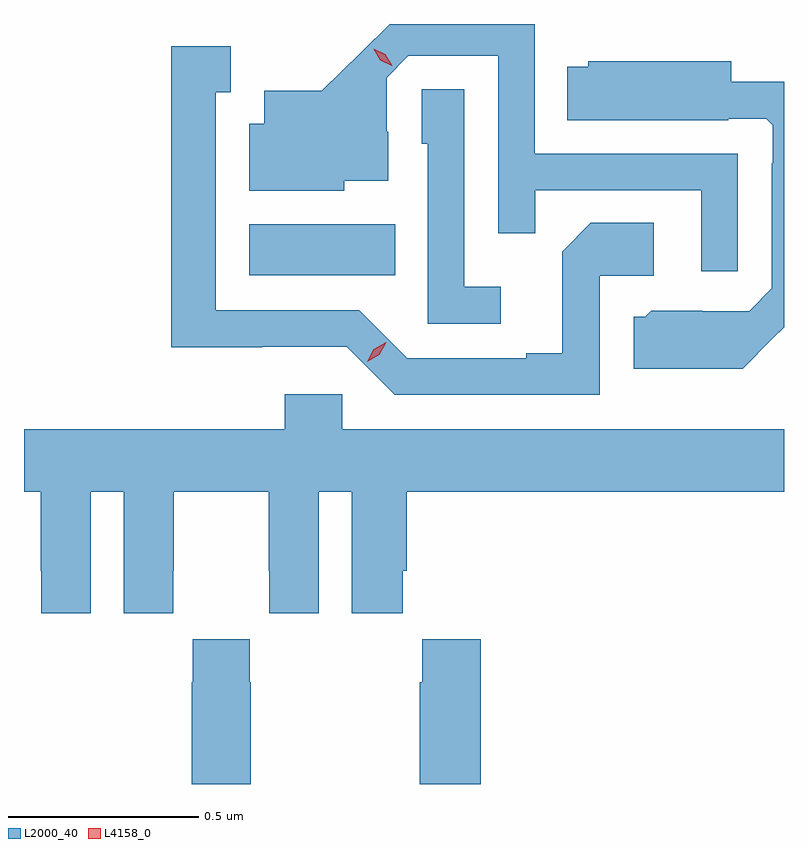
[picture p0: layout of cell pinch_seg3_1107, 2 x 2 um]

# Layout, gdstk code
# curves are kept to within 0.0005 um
import gdstk
lib = gdstk.Library(unit=1e-6, precision=1e-09)
def R(c, l, rs):  # rectangles x0, y0, x1, y1
    for r in rs: c.add(gdstk.rectangle(r[:2], r[2:], *l))
def P(c, l, *ps):  # polygons
    for p in ps: c.add(gdstk.Polygon(p, *l))
L2000_40 = (2000, 40)
L4158_0 = (4158, 0)

pinch_seg3_1107 = lib.new_cell('pinch_seg3_1107')
R(pinch_seg3_1107, L2000_40, [(315.194,689.498,315.578,689.632)])
P(pinch_seg3_1107, L2000_40, [(316.479,689.817),(315.945,689.817),(315.945,690.159),(315.563,690.159),(315.385,689.983),(315.233,689.983),(315.233,689.896),(315.194,689.896),(315.194,689.72),(315.444,689.72),(315.444,689.747),(315.559,689.747),(315.559,689.876),(315.555,689.876),(315.555,690.018),(315.612,690.075),(315.849,690.075),(315.849,689.608),(315.947,689.608),(315.947,689.721),(316.383,689.721),(316.383,689.508),(316.479,689.508)],
  [(316.116,689.496),(316.258,689.496),(316.258,689.636),(316.093,689.636),(316.017,689.56),(316.017,689.293),(315.923,689.293),(315.923,689.28),(315.609,689.28),(315.483,689.406),(315.106,689.406),(315.106,689.979),(315.145,689.979),(315.145,690.1),(314.988,690.1),(314.988,689.309),(315.228,689.309),(315.228,689.31),(315.45,689.31),(315.576,689.184),(316.116,689.184)],
  [(316.573,689.333),(316.601,689.361),(316.601,690.007),(316.462,690.007),(316.462,690.061),(316.086,690.061),(316.086,690.046),(316.03,690.046),(316.03,689.906),(316.454,689.906),(316.454,689.91),(316.554,689.91),(316.572,689.892),(316.572,689.792),(316.569,689.792),(316.569,689.463),(316.509,689.403),(316.386,689.403),(316.386,689.404),(316.252,689.404),(316.236,689.388),(316.205,689.388),(316.205,689.252),(316.493,689.252)],
  [(315.856,689.467),(315.759,689.467),(315.759,689.987),(315.648,689.987),(315.648,689.844),(315.663,689.844),(315.663,689.37),(315.856,689.37)],
  [(314.776,688.928),(314.864,688.928),(314.864,688.608),(314.994,688.608),(314.994,688.72),(314.995,688.72),(314.995,688.928),(315.245,688.928),(315.245,688.72),(315.246,688.72),(315.246,688.608),(315.376,688.608),(315.376,688.928),(315.464,688.928),(315.464,688.608),(315.598,688.608),(315.598,688.72),(315.608,688.72),(315.608,688.928),(316.601,688.928),(316.601,689.092),(315.438,689.092),(315.438,689.185),(315.287,689.185),(315.287,689.092),(314.601,689.092),(314.601,688.928),(314.645,688.928),(314.645,688.72),(314.646,688.72),(314.646,688.608),(314.776,688.608)],
  [(315.803,688.54),(315.649,688.54),(315.649,688.427),(315.643,688.427),(315.643,688.159),(315.803,688.159)],
  [(315.198,688.427),(315.195,688.427),(315.195,688.54),(315.045,688.54),(315.045,688.427),(315.043,688.427),(315.043,688.159),(315.198,688.159)])
P(pinch_seg3_1107, L4158_0, [(315.504,689.27),(315.504,689.27),(315.522,689.303),(315.554,689.322),(315.554,689.322),(315.554,689.322),(315.536,689.289),(315.504,689.27)],
  [(315.569,690.049),(315.539,690.064),(315.521,690.093),(315.521,690.094),(315.521,690.094),(315.552,690.079),(315.57,690.049),(315.57,690.049)])

lib.write_gds('pinch_seg3_1107.gds')
